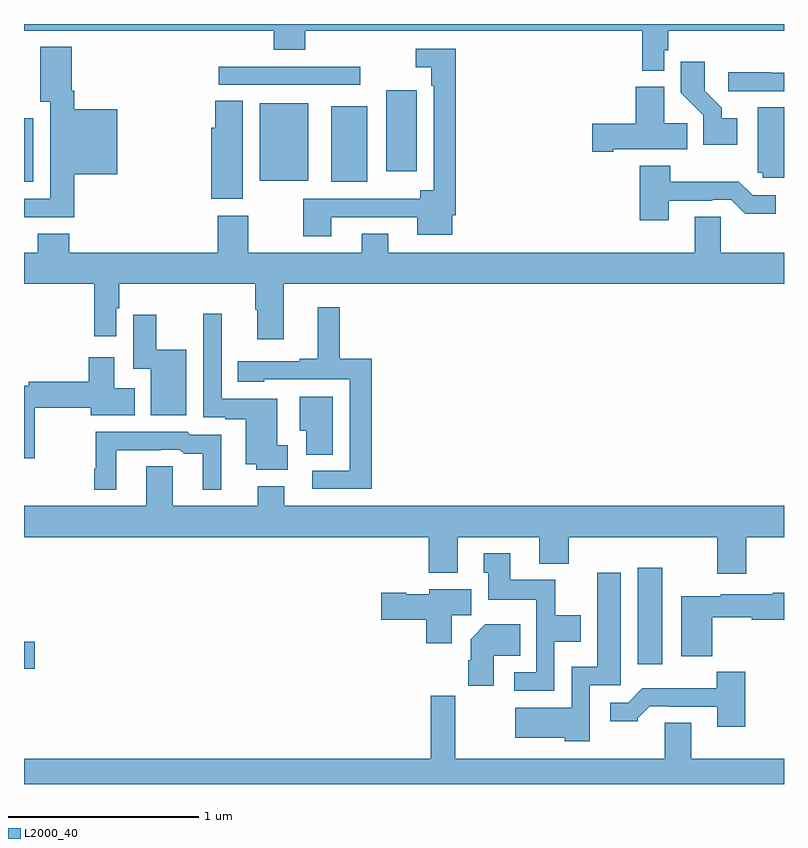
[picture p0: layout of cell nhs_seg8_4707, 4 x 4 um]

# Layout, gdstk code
import gdstk
lib = gdstk.Library(unit=1e-6, precision=1e-09)
def R(c, l, rs):  # rectangles x0, y0, x1, y1
    for r in rs: c.add(gdstk.rectangle(r[:2], r[2:], *l))
def P(c, l, *ps):  # polygons
    for p in ps: c.add(gdstk.Polygon(p, *l))
L2000_40 = (2000, 40)

nhs_seg8_4707 = lib.new_cell('nhs_seg8_4707')
R(nhs_seg8_4707, L2000_40, [(397,1082.506,397.057,1082.648), (400.229,1082.529,400.36,1083.037), (397,1085.069,397.048,1085.404), (398.618,1085.069,398.806,1085.467), (398.24,1085.075,398.497,1085.482), (398.906,1085.124,399.067,1085.551), (398.025,1085.58,398.77,1085.676)])
P(nhs_seg8_4707, L2000_40, [(400.371,1085.763),(400.391,1085.763),(400.391,1085.864),(401,1085.864),(401,1085.9),(397,1085.9),(397,1085.864),(398.315,1085.864),(398.315,1085.765),(398.48,1085.765),(398.48,1085.864),(400.255,1085.864),(400.255,1085.654),(400.371,1085.654)],
  [(397.265,1085.108),(397.492,1085.108),(397.492,1085.452),(397.265,1085.452),(397.265,1085.548),(397.252,1085.548),(397.252,1085.779),(397.085,1085.779),(397.085,1085.492),(397.139,1085.492),(397.139,1084.98),(397,1084.98),(397,1084.883),(397.265,1084.883)],
  [(398.617,1084.884),(399.071,1084.884),(399.071,1084.79),(399.253,1084.79),(399.253,1084.894),(399.272,1084.894),(399.272,1085.769),(399.063,1085.769),(399.063,1085.673),(399.144,1085.673),(399.144,1085.576),(399.156,1085.576),(399.156,1085.026),(399.086,1085.026),(399.086,1084.98),(398.47,1084.98),(398.47,1084.782),(398.617,1084.782)],
  [(400.753,1085.404),(400.672,1085.404),(400.672,1085.459),(400.582,1085.549),(400.582,1085.701),(400.456,1085.701),(400.456,1085.538),(400.575,1085.419),(400.575,1085.264),(400.753,1085.264)],
  [(401,1085.643),(400.931,1085.643),(400.931,1085.646),(400.707,1085.646),(400.707,1085.547),(401,1085.547)],
  [(400.102,1085.24),(400.49,1085.24),(400.49,1085.378),(400.369,1085.378),(400.369,1085.569),(400.22,1085.569),(400.22,1085.375),(399.99,1085.375),(399.99,1085.228),(400.102,1085.228)],
  [(398.152,1085.495),(398.006,1085.495),(398.006,1085.355),(397.985,1085.355),(397.985,1084.979),(398.152,1084.979)],
  [(401,1085.462),(400.862,1085.462),(400.862,1085.118),(400.887,1085.118),(400.887,1085.091),(401,1085.091)],
  [(400.393,1084.971),(400.622,1084.971),(400.622,1084.974),(400.722,1084.974),(400.795,1084.901),(400.957,1084.901),(400.957,1084.998),(400.836,1084.998),(400.763,1085.071),(400.401,1085.071),(400.401,1085.155),(400.241,1085.155),(400.241,1084.866),(400.393,1084.866)],
  [(398.368,1084.532),(401,1084.532),(401,1084.696),(400.668,1084.696),(400.668,1084.886),(400.529,1084.886),(400.529,1084.696),(398.917,1084.696),(398.917,1084.795),(398.777,1084.795),(398.777,1084.696),(398.181,1084.696),(398.181,1084.891),(398.021,1084.891),(398.021,1084.696),(397.238,1084.696),(397.238,1084.795),(397.073,1084.795),(397.073,1084.696),(397,1084.696),(397,1084.532),(397.369,1084.532),(397.369,1084.257),(397.485,1084.257),(397.485,1084.403),(397.501,1084.403),(397.501,1084.532),(398.216,1084.532),(398.216,1084.395),(398.228,1084.395),(398.228,1084.242),(398.368,1084.242)],
  [(398.831,1084.138),(398.663,1084.138),(398.663,1084.408),(398.546,1084.408),(398.546,1084.138),(398.45,1084.138),(398.45,1084.125),(398.125,1084.125),(398.125,1084.016),(398.265,1084.016),(398.265,1084.029),(398.715,1084.029),(398.715,1083.549),(398.517,1083.549),(398.517,1083.453),(398.831,1083.453)],
  [(398.389,1083.684),(398.332,1083.684),(398.332,1083.927),(398.04,1083.927),(398.04,1084.375),(397.944,1084.375),(397.944,1083.831),(398.06,1083.831),(398.06,1083.819),(398.168,1083.819),(398.168,1083.584),(398.222,1083.584),(398.222,1083.554),(398.389,1083.554)],
  [(397.855,1084.186),(397.696,1084.186),(397.696,1084.369),(397.575,1084.369),(397.575,1084.085),(397.667,1084.085),(397.667,1083.842),(397.855,1083.842)],
  [(397.056,1083.88),(397.352,1083.88),(397.352,1083.842),(397.582,1083.842),(397.582,1083.982),(397.474,1083.982),(397.474,1084.147),(397.34,1084.147),(397.34,1084.016),(397.024,1084.016),(397.024,1083.996),(397,1083.996),(397,1083.615),(397.056,1083.615)],
  [(398.626,1083.937),(398.45,1083.937),(398.45,1083.758),(398.486,1083.758),(398.486,1083.634),(398.626,1083.634)],
  [(397.486,1083.657),(397.721,1083.657),(397.721,1083.66),(397.821,1083.66),(397.844,1083.638),(397.94,1083.638),(397.94,1083.449),(398.038,1083.449),(398.038,1083.738),(397.875,1083.738),(397.86,1083.753),(397.377,1083.753),(397.377,1083.56),(397.369,1083.56),(397.369,1083.449),(397.486,1083.449)],
  [(398.371,1083.466),(398.231,1083.466),(398.231,1083.364),(397.783,1083.364),(397.783,1083.572),(397.643,1083.572),(397.643,1083.364),(397,1083.364),(397,1083.2),(399.131,1083.2),(399.131,1083.011),(399.283,1083.011),(399.283,1083.2),(399.713,1083.2),(399.713,1083.059),(399.866,1083.059),(399.866,1083.2),(400.649,1083.2),(400.649,1083.006),(400.802,1083.006),(400.802,1083.2),(401,1083.2),(401,1083.364),(398.371,1083.364)],
  [(399.792,1082.648),(399.931,1082.648),(399.931,1082.788),(399.795,1082.788),(399.795,1082.974),(399.559,1082.974),(399.559,1083.115),(399.419,1083.115),(399.419,1083.012),(399.443,1083.012),(399.443,1082.87),(399.696,1082.87),(399.696,1082.487),(399.579,1082.487),(399.579,1082.391),(399.792,1082.391)],
  [(399.978,1082.421),(400.141,1082.421),(400.141,1083.013),(400.016,1083.013),(400.016,1082.518),(399.882,1082.518),(399.882,1082.302),(399.585,1082.302),(399.585,1082.144),(399.846,1082.144),(399.846,1082.126),(399.978,1082.126)],
  [(399.25,1082.788),(399.355,1082.788),(399.355,1082.926),(399.132,1082.926),(399.132,1082.899),(399.012,1082.899),(399.012,1082.907),(398.88,1082.907),(398.88,1082.765),(399.116,1082.765),(399.116,1082.64),(399.25,1082.64)],
  [(400.622,1082.777),(400.83,1082.777),(400.83,1082.765),(401,1082.765),(401,1082.907),(400.94,1082.907),(400.94,1082.899),(400.668,1082.899),(400.668,1082.887),(400.46,1082.887),(400.46,1082.573),(400.622,1082.573)],
  [(399.472,1082.576),(399.611,1082.576),(399.611,1082.74),(399.428,1082.74),(399.35,1082.662),(399.35,1082.552),(399.338,1082.552),(399.338,1082.418),(399.472,1082.418)],
  [(400.797,1082.491),(400.647,1082.491),(400.647,1082.404),(400.255,1082.404),(400.179,1082.328),(400.086,1082.328),(400.086,1082.231),(400.23,1082.231),(400.23,1082.246),(400.294,1082.31),(400.393,1082.31),(400.393,1082.307),(400.649,1082.307),(400.649,1082.202),(400.797,1082.202)],
  [(401,1082.032),(400.513,1082.032),(400.513,1082.222),(400.373,1082.222),(400.373,1082.032),(399.271,1082.032),(399.271,1082.365),(399.142,1082.365),(399.142,1082.032),(397,1082.032),(397,1081.9),(401,1081.9)])

lib.write_gds('nhs_seg8_4707.gds')
